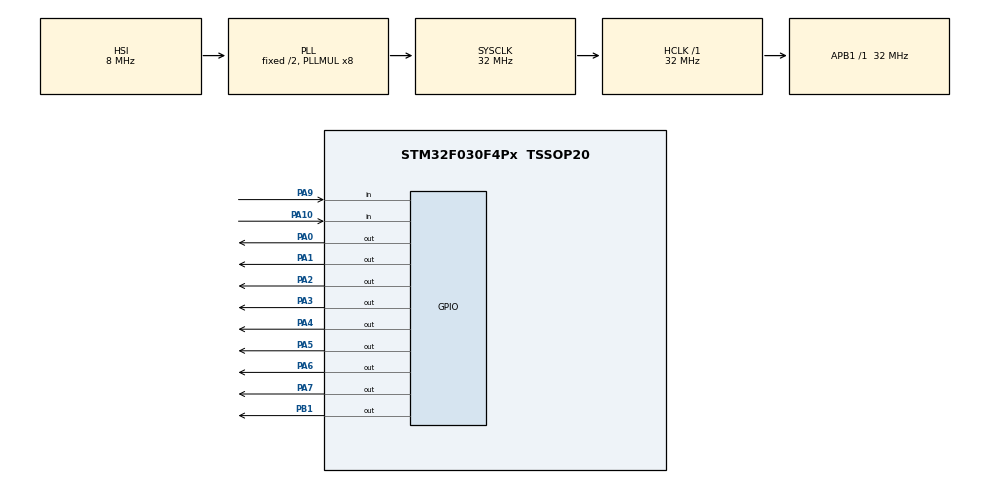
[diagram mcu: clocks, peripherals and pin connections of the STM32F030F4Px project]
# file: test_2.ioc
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Mcu.Family=STM32F0
Mcu.Name=STM32F030F4Px
Mcu.Package=TSSOP20
PA0.Signal=GPIO_Output
PA1.Signal=GPIO_Output
PA10.GPIO_Mode=GPIO_MODE_INPUT
PA10.GPIO_PuPd=GPIO_PULLUP
PA10.Signal=GPIO_Input
PA13.Mode=Serial_Wire
PA13.Signal=SYS_SWDIO
PA14.Mode=Serial_Wire
PA14.Signal=SYS_SWCLK
PA2.Signal=GPIO_Output
PA3.Signal=GPIO_Output
PA4.Signal=GPIO_Output
PA5.Signal=GPIO_Output
PA6.Signal=GPIO_Output
PA7.Signal=GPIO_Output
PA9.GPIO_Mode=GPIO_MODE_INPUT
PA9.GPIO_PuPd=GPIO_PULLUP
PA9.Signal=GPIO_Input
PB1.Signal=GPIO_Output
PF0-OSC_IN.Mode=HSE-External-Oscillator
PF0-OSC_IN.Signal=RCC_OSC_IN
PF1-OSC_OUT.Mode=HSE-External-Oscillator
PF1-OSC_OUT.Signal=RCC_OSC_OUT
ProjectManager.HeapSize=0x200
ProjectManager.StackSize=0x400
ProjectManager.TargetToolchain=STM32CubeIDE
RCC.AHBFreq_Value=32000000
RCC.APB1Freq_Value=32000000
RCC.APB1TimFreq_Value=32000000
RCC.HCLKFreq_Value=32000000
RCC.PLLMUL=RCC_PLL_MUL8
RCC.SYSCLKFreq_VALUE=32000000
RCC.SYSCLKSource=RCC_SYSCLKSOURCE_PLLCLK
board=custom

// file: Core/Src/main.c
/* USER CODE BEGIN Header */
/**
  ******************************************************************************
  * @file           : main.c
  * @brief          : Main program body
  ******************************************************************************
  * @attention
  *
  * Copyright (c) 2024 STMicroelectronics.
  * All rights reserved.
  *
  * This software is licensed under terms that can be found in the LICENSE file
  * in the root directory of this software component.
  * If no LICENSE file comes with this software, it is provided AS-IS.
  *
  ******************************************************************************
  */
/* USER CODE END Header */
#include "main.h"

/* USER CODE BEGIN Includes */
#include "lcd.h"
/* USER CODE END Includes */

void SystemClock_Config(void);
static void MX_GPIO_Init(void);
/* USER CODE BEGIN PFP */
void selectRow(uint8_t row);
uint8_t Keypad_Getkey();
void Press (uint8_t key);
void Release (uint8_t key);
void Keypad_handle();
/* USER CODE END PFP */

/* USER CODE BEGIN 0 */
#define DEL 10
#define cong 11
#define tru 12
#define nhan 13
#define chia 14
#define bang 15
#define ko 16
float num[10] = {0,0,0,0,0,0,0,0,0,0}; //luu so
uint8_t equaltion[9] = {0,0,0,0,0,0,0,0,0}; // luu dau
uint8_t pos = 0; //vi tri
uint8_t key_current=0;
uint8_t key_last=0;
float kq=0;
int64_t num1=0;
uint8_t row=0;
uint8_t check=0;

const uint8_t key_code [8][2] =
{
		{7,8},
		{9,cong},
		{4,5},
		{6,tru},
		{1,2},
		{3,nhan},
		{ko,bang},
		{DEL,chia},
};

/* USER CODE END 0 */

int main(void)
{

  /* MCU Configuration--------------------------------------------------------*/

  /* Reset of all peripherals, Initializes the Flash interface and the Systick. */
  HAL_Init();

  /* Configure the system clock */
  SystemClock_Config();

  /* Initialize all configured peripherals */
  MX_GPIO_Init();
  /* USER CODE BEGIN 2 */
  LCD_Init();
  LCD_Write_String("BTL ESD Nhom 18");
  HAL_Delay(2000);
  LCD_Clear();
  /* USER CODE END 2 */

  /* Infinite loop */
  /* USER CODE BEGIN WHILE */
  while (1)
  {
	  key_current = Keypad_Getkey();
	  Keypad_handle();
    /* USER CODE END WHILE */

  }
}

void SystemClock_Config(void)
{
  RCC_OscInitTypeDef RCC_OscInitStruct = {0};
  RCC_ClkInitTypeDef RCC_ClkInitStruct = {0};

  /** Initializes the RCC Oscillators according to the specified parameters
  * in the RCC_OscInitTypeDef structure.
  */
  RCC_OscInitStruct.OscillatorType = RCC_OSCILLATORTYPE_HSI;
  RCC_OscInitStruct.HSIState = RCC_HSI_ON;
  RCC_OscInitStruct.HSICalibrationValue = RCC_HSICALIBRATION_DEFAULT;
  RCC_OscInitStruct.PLL.PLLState = RCC_PLL_ON;
  RCC_OscInitStruct.PLL.PLLSource = RCC_PLLSOURCE_HSI;
  RCC_OscInitStruct.PLL.PLLMUL = RCC_PLL_MUL8;
  RCC_OscInitStruct.PLL.PREDIV = RCC_PREDIV_DIV1;
  if (HAL_RCC_OscConfig(&RCC_OscInitStruct) != HAL_OK)
  {
    Error_Handler();
  }

  /** Initializes the CPU, AHB and APB buses clocks
  */
  RCC_ClkInitStruct.ClockType = RCC_CLOCKTYPE_HCLK|RCC_CLOCKTYPE_SYSCLK
                              |RCC_CLOCKTYPE_PCLK1;
  RCC_ClkInitStruct.SYSCLKSource = RCC_SYSCLKSOURCE_PLLCLK;
  RCC_ClkInitStruct.AHBCLKDivider = RCC_SYSCLK_DIV1;
  RCC_ClkInitStruct.APB1CLKDivider = RCC_HCLK_DIV1;

  if (HAL_RCC_ClockConfig(&RCC_ClkInitStruct, FLASH_LATENCY_1) != HAL_OK)
  {
    Error_Handler();
  }
}

static void MX_GPIO_Init(void)
{
  GPIO_InitTypeDef GPIO_InitStruct = {0};

  /* GPIO Ports Clock Enable */
  __HAL_RCC_GPIOF_CLK_ENABLE();
  __HAL_RCC_GPIOA_CLK_ENABLE();
  __HAL_RCC_GPIOB_CLK_ENABLE();

  /*Configure GPIO pin Output Level */
  HAL_GPIO_WritePin(GPIOA, GPIO_PIN_0|GPIO_PIN_1|GPIO_PIN_2|GPIO_PIN_3
                          |GPIO_PIN_4|GPIO_PIN_5|GPIO_PIN_6|GPIO_PIN_7, GPIO_PIN_RESET);

  /*Configure GPIO pin Output Level */
  HAL_GPIO_WritePin(GPIOB, GPIO_PIN_1, GPIO_PIN_RESET);

  /*Configure GPIO pins : PA0 PA1 PA2 PA3
                           PA4 PA5 PA6 PA7 */
  GPIO_InitStruct.Pin = GPIO_PIN_0|GPIO_PIN_1|GPIO_PIN_2|GPIO_PIN_3
                          |GPIO_PIN_4|GPIO_PIN_5|GPIO_PIN_6|GPIO_PIN_7;
  GPIO_InitStruct.Mode = GPIO_MODE_OUTPUT_PP;
  GPIO_InitStruct.Pull = GPIO_NOPULL;
  GPIO_InitStruct.Speed = GPIO_SPEED_FREQ_LOW;
  HAL_GPIO_Init(GPIOA, &GPIO_InitStruct);

  /*Configure GPIO pin : PB1 */
  GPIO_InitStruct.Pin = GPIO_PIN_1;
  GPIO_InitStruct.Mode = GPIO_MODE_OUTPUT_PP;
  GPIO_InitStruct.Pull = GPIO_NOPULL;
  GPIO_InitStruct.Speed = GPIO_SPEED_FREQ_LOW;
  HAL_GPIO_Init(GPIOB, &GPIO_InitStruct);

  /*Configure GPIO pins : PA9 PA10 */
  GPIO_InitStruct.Pin = GPIO_PIN_9|GPIO_PIN_10;
  GPIO_InitStruct.Mode = GPIO_MODE_INPUT;
  GPIO_InitStruct.Pull = GPIO_PULLUP;
  HAL_GPIO_Init(GPIOA, &GPIO_InitStruct);

}

/* USER CODE BEGIN 4 */
void selectRow(uint8_t row)
{
	switch (row){
	case 0:
		HAL_GPIO_WritePin(GPIOA, GPIO_PIN_6, RESET);
		HAL_GPIO_WritePin(GPIOA, GPIO_PIN_7, RESET);
		HAL_GPIO_WritePin(GPIOB, GPIO_PIN_1, RESET);
	break;
	case 1:
		HAL_GPIO_WritePin(GPIOA, GPIO_PIN_6, RESET);
		HAL_GPIO_WritePin(GPIOA, GPIO_PIN_7, RESET);
		HAL_GPIO_WritePin(GPIOB, GPIO_PIN_1, SET);
		break;
	case 2:
		HAL_GPIO_WritePin(GPIOA, GPIO_PIN_6, RESET);
		HAL_GPIO_WritePin(GPIOA, GPIO_PIN_7, SET);
		HAL_GPIO_WritePin(GPIOB, GPIO_PIN_1, RESET);
		break;
	case 3:
		HAL_GPIO_WritePin(GPIOA, GPIO_PIN_6, RESET);
		HAL_GPIO_WritePin(GPIOA, GPIO_PIN_7, SET);
		HAL_GPIO_WritePin(GPIOB, GPIO_PIN_1, SET);
		break;
	case 4:
		HAL_GPIO_WritePin(GPIOA, GPIO_PIN_6, SET);
		HAL_GPIO_WritePin(GPIOA, GPIO_PIN_7, RESET);
		HAL_GPIO_WritePin(GPIOB, GPIO_PIN_1, RESET);
		break;
	case 5:
		HAL_GPIO_WritePin(GPIOA, GPIO_PIN_6, SET);
		HAL_GPIO_WritePin(GPIOA, GPIO_PIN_7, RESET);
		HAL_GPIO_WritePin(GPIOB, GPIO_PIN_1, SET);
		break;
	case 6:
		HAL_GPIO_WritePin(GPIOA, GPIO_PIN_6, SET);
		HAL_GPIO_WritePin(GPIOA, GPIO_PIN_7, SET);
		HAL_GPIO_WritePin(GPIOB, GPIO_PIN_1, RESET);
		break;
	case 7:
		HAL_GPIO_WritePin(GPIOA, GPIO_PIN_6, SET);
		HAL_GPIO_WritePin(GPIOA, GPIO_PIN_7, SET);
		HAL_GPIO_WritePin(GPIOB, GPIO_PIN_1, SET);
		break;
	}
};
uint8_t Keypad_Getkey()
{
	for (row=0 ; row<8 ; row ++)
	{
		selectRow(row);
		HAL_Delay(2);
			if (HAL_GPIO_ReadPin(GPIOA, GPIO_PIN_10) == 0)
			{
				HAL_Delay(50);
				if (HAL_GPIO_ReadPin(GPIOA, GPIO_PIN_10) == 0)
				return key_code[row][0];
			}
			else if (HAL_GPIO_ReadPin(GPIOA, GPIO_PIN_9) == 0)
			{
				HAL_Delay(50);
				if (HAL_GPIO_ReadPin(GPIOA, GPIO_PIN_9) == 0)
				return key_code[row][1];
			}
	}
	return 0;
}
void Press (uint8_t key)
{
	if ((key==1) || (key==2) || (key==3) || (key==4) || (key==5) || (key==6) || (key==7) || (key==8) || (key==9) || (key==ko))
	{
		if (key==ko)
		{
			key=0;
	    }
			LCD_Write_Number(key);
	}
	if ((key==cong))
	{
		LCD_Write_String("+");
		equaltion[pos] = 1;
	}
	else if ((key==tru))
	{
		LCD_Write_String("-");
		equaltion[pos] = 2;
	}
	else if ((key==nhan))
	{
		LCD_Write_String("x");
		equaltion[pos] = 3;
	}
	else if ((key==chia))
	{
		LCD_Write_String(":");
		equaltion[pos] = 4;
	}
	if (key==bang)
	{
		num[pos] = num1;
		for(uint8_t i = 0; i < 9; i++)
		{
			if (equaltion[i] == 3)
			{
				num[i+1] = num[i] * num[i+1];
				num[i] = 0;
				if (i>0)
				{
					equaltion[i] = equaltion[i-1];
				}
				else equaltion[i] = 1;
			}
			else if (equaltion[i] == 4)
			{
				if (num[i+1]==0)
				{
					check=1;
				}
				else
				{
					num[i+1] = num[i] / num[i+1];
					num[i] = 0;
					if (i>0)
					{
						equaltion[i] = equaltion[i-1];
					}
					else equaltion[i] = 1;
				}
			}
		}
		for(uint8_t i = 0; i < 10; i++)
		{
			if (equaltion[i] == 1)
			{
				num[i+1] = num[i] + num[i+1];
			}
			else if (equaltion[i] == 2)
			{
				num[i+1] = num[i] - num[i+1];
			}
			else if (equaltion[i] == 0) {
				kq = num[i];
				break;
			}

		}
		LCD_Location(1, 0);
		if (check==1) LCD_Write_String("ERROR");
		else LCD_Write_Float(kq);
	}
	if (key==DEL)
	{
		LCD_Clear();
		LCD_Location(0, 0);
		check=0;
	}
}
void Release (uint8_t key)
{
	  if ((key==1) || (key==2) || (key==3) || (key==4) || (key==5) || (key==6) || (key==7) || (key==8) || (key==9) || (key==ko))
	  {
		  if (key==ko)
		  {
			  key=0;
		  }
	 	  num1 = num1*10 + key;
	  }
	  if ((key==cong) || (key==tru) || (key==nhan) || (key==chia))
	  {
		  num[pos] = num1;
		  num1 = 0; //reset num1
		  pos++;
	  }
	  if (key==bang)
	  {

	  }
	  if (key==DEL)
	  {
		  num1=0;
		  pos=0;
		  for (uint8_t i = 0; i < 9; i++) {
		      equaltion[i] = 0;
		  }
		  for (uint8_t i = 0; i < 10; i++) {
		      num[i] = 0;
		  }
	  }
}
void Keypad_handle()
{
	if ( key_current != key_last )
	{
		if ( key_current !=0 ) Press(key_current);
		else Release (key_last);
		key_last = key_current;
	}
}
/* USER CODE END 4 */

void Error_Handler(void)
{
  __disable_irq();
  while (1)
  {
  }
}
